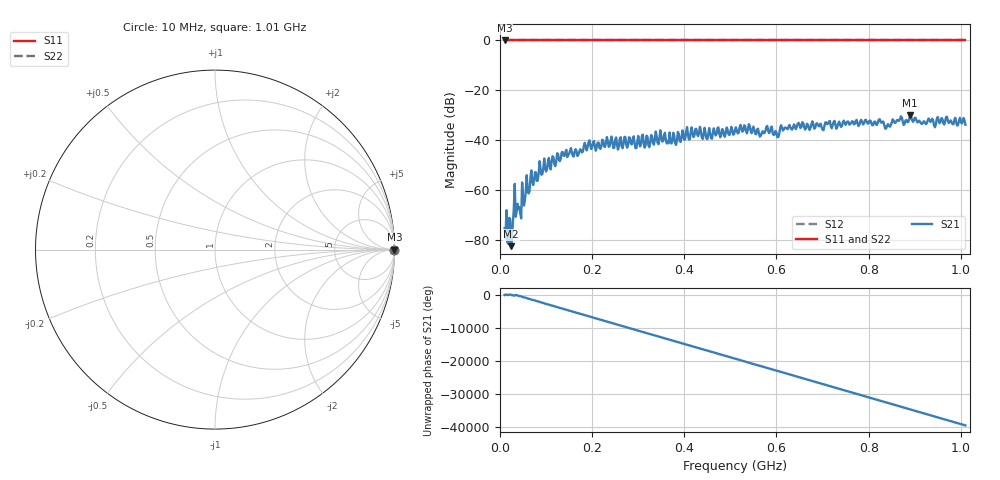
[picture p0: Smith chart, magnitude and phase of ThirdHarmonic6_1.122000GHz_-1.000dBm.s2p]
! 8/16/2025 10:48:48 AM
! C:\ANRITSUVNA\TEMP\TEMP.S2P
! CHANNEL.1
! TR.MEASUREMENT
! RAW.DATA
! RF.CORRECTION.OFF
! AVERAGING.OFF
! IF.BANDWIDTH: 5KHZ
! SWEEPTYPE:  FREQ.SWEEP(Linear)
! Reference Plane Port Info
! PORT:  PORT1  PORT2
! DISTANCE:  0  m  0  m
! TIME:  0  s  0  s
! PHASE.OFFSET:  0  deg.  0  deg.
! LOSS:  0  dB  0  dB
! REF.LOSS:  0  dB  0  dB
! REF.FREQ:  0  Hz  0  Hz
! Power Info
! POWER:  -20  dBm  -20  dBm
! EFF.POWER:  -20  dBm  -20  dBm
! SOURCE.ATTEN:  0  dB  0  dB
! TEST.ATTEN:  0  dB  0  dB
# GHZ S RI R 50.0
! FREQ.GHZ  S11RE  S11IM  S21RE  S21IM  S12RE  S12IM  S22RE  S22IM
!; PortSelection: Port_12
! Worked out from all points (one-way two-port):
!   501 points, 10 MHz to 1.01 GHz, reference 50 ohm
!   highest |S21| = -29.97 dB at 890 MHz (marker M1); lowest = -82.4 dB at 24 MHz (marker M2)
!   lowest |S11| = 0.0 dB at 10 MHz (marker M3)
!   |S11| at or under -10 dB: nowhere
!   |S22| runs from 0.0 to 0.0 dB; largest |S21 - S12| = 1
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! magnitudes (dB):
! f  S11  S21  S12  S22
! 10 MHz  0.0  -75.3  0.0  0.0
! 14 MHz  0.0  -68.0  0.0  0.0
! 18 MHz  0.0  -81.5  0.0  0.0
! 20 MHz  0.0  -71.1  0.0  0.0
! 24 MHz  0.0  -82.4  0.0  0.0
! 34 MHz  0.0  -70.7  0.0  0.0
! 42 MHz  0.0  -66.8  0.0  0.0
! 52 MHz  0.0  -66.1  0.0  0.0
! 72 MHz  0.0  -58.0  0.0  0.0
! 138 MHz  0.0  -46.1  0.0  0.0
! 178 MHz  0.0  -44.9  0.0  0.0
! 344 MHz  0.0  -41.6  0.0  0.0
! 510 MHz  0.0  -35.9  0.0  0.0
! 568 MHz  0.0  -37.3  0.0  0.0
! 580 MHz  0.0  -34.2  0.0  0.0
! 600 MHz  0.0  -36.8  0.0  0.0
! 612 MHz  0.0  -34.9  0.0  0.0
! 678 MHz  0.0  -32.4  0.0  0.0
! 826 MHz  0.0  -32.6  0.0  0.0
! 844 MHz  0.0  -34.1  0.0  0.0
! 890 MHz  0.0  -30.0  0.0  0.0
! 1.01 GHz  0.0  -33.8  0.0  0.0
